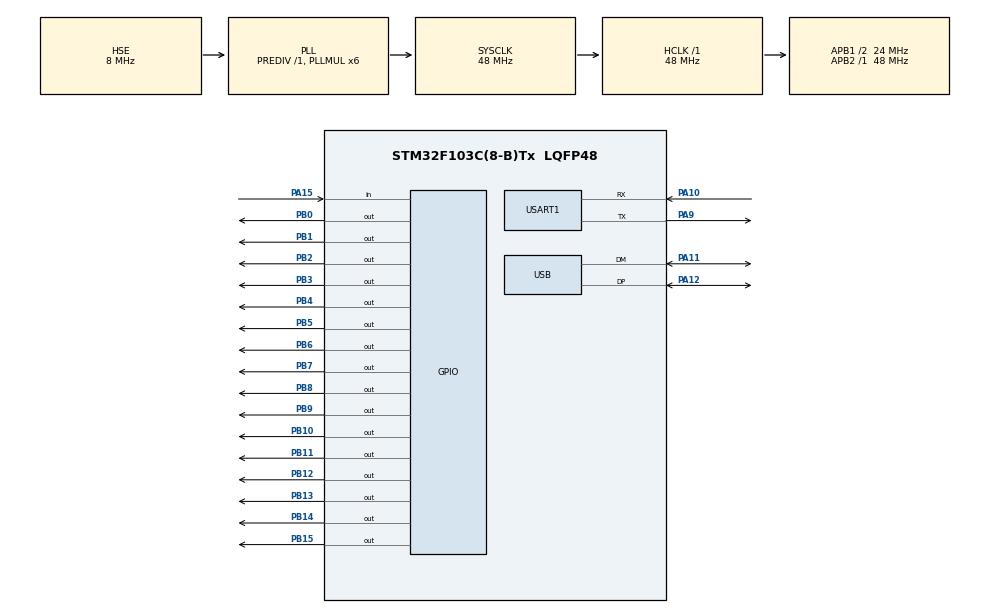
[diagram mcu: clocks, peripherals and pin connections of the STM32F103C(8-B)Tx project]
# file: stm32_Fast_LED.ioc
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Dma.Request0=TIM2_UP
Dma.Request1=TIM2_CH1
Dma.Request2=TIM2_CH2/CH4
Dma.TIM2_CH1.1.Direction=DMA_MEMORY_TO_PERIPH
Dma.TIM2_CH1.1.Instance=DMA1_Channel5
Dma.TIM2_CH1.1.MemDataAlignment=DMA_MDATAALIGN_HALFWORD
Dma.TIM2_CH1.1.MemInc=DMA_MINC_DISABLE
Dma.TIM2_CH1.1.Mode=DMA_CIRCULAR
Dma.TIM2_CH1.1.PeriphDataAlignment=DMA_PDATAALIGN_HALFWORD
Dma.TIM2_CH1.1.PeriphInc=DMA_PINC_DISABLE
Dma.TIM2_CH1.1.Priority=DMA_PRIORITY_VERY_HIGH
Dma.TIM2_CH2/CH4.2.Direction=DMA_MEMORY_TO_PERIPH
Dma.TIM2_CH2/CH4.2.Instance=DMA1_Channel7
Dma.TIM2_CH2/CH4.2.MemDataAlignment=DMA_MDATAALIGN_HALFWORD
Dma.TIM2_CH2/CH4.2.MemInc=DMA_MINC_DISABLE
Dma.TIM2_CH2/CH4.2.Mode=DMA_CIRCULAR
Dma.TIM2_CH2/CH4.2.PeriphDataAlignment=DMA_PDATAALIGN_HALFWORD
Dma.TIM2_CH2/CH4.2.PeriphInc=DMA_PINC_DISABLE
Dma.TIM2_CH2/CH4.2.Priority=DMA_PRIORITY_VERY_HIGH
Dma.TIM2_UP.0.Direction=DMA_MEMORY_TO_PERIPH
Dma.TIM2_UP.0.Instance=DMA1_Channel2
Dma.TIM2_UP.0.MemDataAlignment=DMA_MDATAALIGN_HALFWORD
Dma.TIM2_UP.0.MemInc=DMA_MINC_DISABLE
Dma.TIM2_UP.0.Mode=DMA_CIRCULAR
Dma.TIM2_UP.0.PeriphDataAlignment=DMA_PDATAALIGN_HALFWORD
Dma.TIM2_UP.0.PeriphInc=DMA_PINC_DISABLE
Dma.TIM2_UP.0.Priority=DMA_PRIORITY_VERY_HIGH
Mcu.Family=STM32F1
Mcu.Name=STM32F103C(8-B)Tx
Mcu.Package=LQFP48
NVIC.DMA1_Channel2_IRQn=true\:0\:0\:false\:false\:true\:false\:true
NVIC.DMA1_Channel5_IRQn=true\:0\:0\:false\:false\:true\:false\:true
NVIC.DMA1_Channel7_IRQn=true\:0\:0\:false\:false\:true\:false\:true
NVIC.PriorityGroup=NVIC_PRIORITYGROUP_4
NVIC.USB_LP_CAN1_RX0_IRQn=true\:0\:0\:false\:false\:true\:false\:true
PA10.Mode=Asynchronous
PA10.Signal=USART1_RX
PA11.Mode=Device
PA11.Signal=USB_DM
PA12.Mode=Device
PA12.Signal=USB_DP
PA15.GPIO_PuPd=GPIO_PULLUP
PA15.Signal=GPIO_Input
PA9.Mode=Asynchronous
PA9.Signal=USART1_TX
PB0.GPIO_Speed=GPIO_SPEED_FREQ_HIGH
PB0.Signal=GPIO_Output
PB1.GPIO_Speed=GPIO_SPEED_FREQ_HIGH
PB1.Signal=GPIO_Output
PB10.GPIO_Speed=GPIO_SPEED_FREQ_HIGH
PB10.Signal=GPIO_Output
PB11.GPIO_Speed=GPIO_SPEED_FREQ_HIGH
PB11.Signal=GPIO_Output
PB12.GPIO_Speed=GPIO_SPEED_FREQ_HIGH
PB12.Signal=GPIO_Output
PB13.GPIO_Speed=GPIO_SPEED_FREQ_HIGH
PB13.Signal=GPIO_Output
PB14.GPIO_Speed=GPIO_SPEED_FREQ_HIGH
PB14.Signal=GPIO_Output
PB15.GPIO_Speed=GPIO_SPEED_FREQ_HIGH
PB15.Signal=GPIO_Output
PB2.GPIO_Speed=GPIO_SPEED_FREQ_HIGH
PB2.Signal=GPIO_Output
PB3.GPIO_Speed=GPIO_SPEED_FREQ_HIGH
PB3.Signal=GPIO_Output
PB4.GPIO_Speed=GPIO_SPEED_FREQ_HIGH
PB4.Signal=GPIO_Output
PB5.GPIO_Speed=GPIO_SPEED_FREQ_HIGH
PB5.Signal=GPIO_Output
PB6.GPIO_Speed=GPIO_SPEED_FREQ_HIGH
PB6.Signal=GPIO_Output
PB7.GPIO_Speed=GPIO_SPEED_FREQ_HIGH
PB7.Signal=GPIO_Output
PB8.GPIO_PuPd=GPIO_NOPULL
PB8.GPIO_Speed=GPIO_SPEED_FREQ_HIGH
PB8.PinState=GPIO_PIN_SET
PB8.Signal=GPIO_Output
PB9.GPIO_Speed=GPIO_SPEED_FREQ_HIGH
PB9.Signal=GPIO_Output
PD0-OSC_IN.Mode=HSE-External-Oscillator
PD0-OSC_IN.Signal=RCC_OSC_IN
PD1-OSC_OUT.Mode=HSE-External-Oscillator
PD1-OSC_OUT.Signal=RCC_OSC_OUT
ProjectManager.HeapSize=0x400
ProjectManager.StackSize=0x800
ProjectManager.TargetToolchain=STM32CubeIDE
RCC.AHBFreq_Value=48000000
RCC.APB1CLKDivider=RCC_HCLK_DIV2
RCC.APB1Freq_Value=24000000
RCC.APB1TimFreq_Value=48000000
RCC.APB2Freq_Value=48000000
RCC.APB2TimFreq_Value=48000000
RCC.HCLKFreq_Value=48000000
RCC.PLLMUL=RCC_PLL_MUL6
RCC.PLLSourceVirtual=RCC_PLLSOURCE_HSE
RCC.RTCClockSelection=RCC_RTCCLKSOURCE_LSE
RCC.SYSCLKFreq_VALUE=48000000
RCC.SYSCLKSource=RCC_SYSCLKSOURCE_PLLCLK
RCC.USBFreq_Value=48000000
TIM2.Channel-PWM\ Generation1\ No\ Output=TIM_CHANNEL_1
TIM2.Channel-PWM\ Generation2\ No\ Output=TIM_CHANNEL_2
USART1.VirtualMode=VM_ASYNC
USB_DEVICE.CLASS_NAME_FS=CDC
USB_DEVICE.VirtualMode=Cdc
USB_DEVICE.VirtualModeFS=Cdc_FS
VP_SYS_VS_ND.Mode=No_Debug
VP_TIM2_VS_ClockSourceINT.Mode=Internal
VP_TIM2_VS_no_output1.Mode=PWM Generation1 No Output
VP_TIM2_VS_no_output2.Mode=PWM Generation2 No Output
VP_USB_DEVICE_VS_USB_DEVICE_CDC_FS.Mode=CDC_FS
board=custom

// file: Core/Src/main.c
/* USER CODE BEGIN Header */
/**
  ******************************************************************************
  * @file           : main.c
  * @brief          : Main program body
  ******************************************************************************
  ** This notice applies to any and all portions of this file
  * that are not between comment pairs USER CODE BEGIN and
  * USER CODE END. Other portions of this file, whether
  * inserted by the user or by software development tools
  * are owned by their respective copyright owners.
  *
  * COPYRIGHT(c) 2020 STMicroelectronics
  *
  * Redistribution and use in source and binary forms, with or without modification,
  * are permitted provided that the following conditions are met:
  *   1. Redistributions of source code must retain the above copyright notice,
  *      this list of conditions and the following disclaimer.
  *   2. Redistributions in binary form must reproduce the above copyright notice,
  *      this list of conditions and the following disclaimer in the documentation
  *      and/or other materials provided with the distribution.
  *   3. Neither the name of STMicroelectronics nor the names of its contributors
  *      may be used to endorse or promote products derived from this software
  *      without specific prior written permission.
  *
  * THIS SOFTWARE IS PROVIDED BY THE COPYRIGHT HOLDERS AND CONTRIBUTORS "AS IS"
  * AND ANY EXPRESS OR IMPLIED WARRANTIES, INCLUDING, BUT NOT LIMITED TO, THE
  * IMPLIED WARRANTIES OF MERCHANTABILITY AND FITNESS FOR A PARTICULAR PURPOSE ARE
  * DISCLAIMED. IN NO EVENT SHALL THE COPYRIGHT HOLDER OR CONTRIBUTORS BE LIABLE
  * FOR ANY DIRECT, INDIRECT, INCIDENTAL, SPECIAL, EXEMPLARY, OR CONSEQUENTIAL
  * DAMAGES (INCLUDING, BUT NOT LIMITED TO, PROCUREMENT OF SUBSTITUTE GOODS OR
  * SERVICES; LOSS OF USE, DATA, OR PROFITS; OR BUSINESS INTERRUPTION) HOWEVER
  * CAUSED AND ON ANY THEORY OF LIABILITY, WHETHER IN CONTRACT, STRICT LIABILITY,
  * OR TORT (INCLUDING NEGLIGENCE OR OTHERWISE) ARISING IN ANY WAY OUT OF THE USE
  * OF THIS SOFTWARE, EVEN IF ADVISED OF THE POSSIBILITY OF SUCH DAMAGE.
  *
  ******************************************************************************
  */
/* USER CODE END Header */

#include "main.h"
#include "usb_device.h"

/* USER CODE BEGIN Includes */

#include <string.h>
#include "ws2812_led.h"

/* USER CODE END Includes */

/* USER CODE BEGIN PD */

//Define variables for CDC
uint8_t buffer[64] = {0};
uint32_t dataInBuffer = 0;

struct pixel {
    uint8_t g;
    uint8_t r;
    uint8_t b;
};

struct pixel channel_framebuffers[1][900];

int serialLed(void)
{
	uint8_t txBuf[2] = {'A', '\n'};
	CDC_Transmit_FS(txBuf, sizeof(txBuf));

    struct led_channel_info led_channels[1];

    __enable_irq();
    HAL_Delay(200);

    /* Populate the led_channel_info structure. Set the framebuffer pointer for each channel,
     * and the length of the framebuffer for that channel. Lengths are in bytes, NOT in pixels.
     * We allow some framebuffers to be shorter than others (ie, if your LED strips are of
     * unequal lengths) without wasting memory. Removing the length check from ws2812_refresh()
     * will improve performance, but we are within spec as-is.
     */
    for (int i = 0; i < 1; i++) {
        led_channels[i].framebuffer = channel_framebuffers[i];
        led_channels[i].length = 300 * sizeof(struct pixel);
    }

    ws2812_init();

    while(1) {
    	while(1)
    	{
    		if(dataInBuffer > 0)
    		{
    		uint8_t txBuf[2] = {'B', '\n'};
    		CDC_Transmit_FS(txBuf, sizeof(txBuf));
    		CDC_Transmit_FS(buffer, dataInBuffer);

				if(1) //buffer[0] == 0xff) //Check Start Byte ok
				{
					uint32_t len = buffer[1] + (buffer[2] << 8); //Lenght of packet
					uint8_t channel = buffer[4]; // Channel
					int j = 0;

					for(int i = 4; i < (len + 4); i++)
					{
						channel_framebuffers[channel][i].r = buffer[j++];
						channel_framebuffers[channel][i].g = buffer[j++];
						channel_framebuffers[channel][i].b = buffer[j++];
					}
					__disable_irq();
					ws2812_refresh(led_channels, GPIOB);
					__enable_irq();
					dataInBuffer = 0;
					break;
				}

    		}
    		uint8_t txBuf[2] = {'C', '\n'};
    		CDC_Transmit_FS(txBuf, sizeof(txBuf));

    	}
    }
}

/* USER CODE END PD */

TIM_HandleTypeDef htim2;
DMA_HandleTypeDef hdma_tim2_up;
DMA_HandleTypeDef hdma_tim2_ch1;
DMA_HandleTypeDef hdma_tim2_ch2_ch4;

UART_HandleTypeDef huart1;

void SystemClock_Config(void);
static void MX_GPIO_Init(void);
static void MX_USART1_UART_Init(void);
static void MX_DMA_Init(void);
static void MX_TIM2_Init(void);

/* USER CODE BEGIN 0 */
//int demo_main();
/* USER CODE END 0 */

int main(void)
{

  /* MCU Configuration--------------------------------------------------------*/

  /* Reset of all peripherals, Initializes the Flash interface and the Systick. */
  HAL_Init();

  /* Configure the system clock */
  SystemClock_Config();

  /* Initialize all configured peripherals */
  MX_GPIO_Init();
  MX_USART1_UART_Init();
  MX_DMA_Init();
  MX_TIM2_Init();
  MX_USB_DEVICE_Init();
  /* USER CODE BEGIN 2 */

  //serialLed(); //Run the serial led program
  /* USER CODE END 2 */

  /* Infinite loop */
  while (1)
  {

    /* USER CODE BEGIN 3 */
	  uint8_t buf[5] = {"hi\n"};
	  CDC_Transmit_FS(buf, 5);

	  if(dataInBuffer > 0)
	  {
		  CDC_Transmit_FS(buffer, dataInBuffer);
		  dataInBuffer = 0;
	  }

  }
  /* USER CODE END 3 */
}

void SystemClock_Config(void)
{
  RCC_OscInitTypeDef RCC_OscInitStruct = {0};
  RCC_ClkInitTypeDef RCC_ClkInitStruct = {0};
  RCC_PeriphCLKInitTypeDef PeriphClkInit = {0};

  /** Initializes the CPU, AHB and APB busses clocks
  */
  RCC_OscInitStruct.OscillatorType = RCC_OSCILLATORTYPE_HSE;
  RCC_OscInitStruct.HSEState = RCC_HSE_ON;
  RCC_OscInitStruct.HSEPredivValue = RCC_HSE_PREDIV_DIV1;
  RCC_OscInitStruct.HSIState = RCC_HSI_ON;
  RCC_OscInitStruct.PLL.PLLState = RCC_PLL_ON;
  RCC_OscInitStruct.PLL.PLLSource = RCC_PLLSOURCE_HSE;
  RCC_OscInitStruct.PLL.PLLMUL = RCC_PLL_MUL6;
  if (HAL_RCC_OscConfig(&RCC_OscInitStruct) != HAL_OK)
  {
    Error_Handler();
  }
  /** Initializes the CPU, AHB and APB busses clocks
  */
  RCC_ClkInitStruct.ClockType = RCC_CLOCKTYPE_HCLK|RCC_CLOCKTYPE_SYSCLK
                              |RCC_CLOCKTYPE_PCLK1|RCC_CLOCKTYPE_PCLK2;
  RCC_ClkInitStruct.SYSCLKSource = RCC_SYSCLKSOURCE_PLLCLK;
  RCC_ClkInitStruct.AHBCLKDivider = RCC_SYSCLK_DIV1;
  RCC_ClkInitStruct.APB1CLKDivider = RCC_HCLK_DIV2;
  RCC_ClkInitStruct.APB2CLKDivider = RCC_HCLK_DIV1;

  if (HAL_RCC_ClockConfig(&RCC_ClkInitStruct, FLASH_LATENCY_1) != HAL_OK)
  {
    Error_Handler();
  }
  PeriphClkInit.PeriphClockSelection = RCC_PERIPHCLK_USB;
  PeriphClkInit.UsbClockSelection = RCC_USBCLKSOURCE_PLL;
  if (HAL_RCCEx_PeriphCLKConfig(&PeriphClkInit) != HAL_OK)
  {
    Error_Handler();
  }
}

static void MX_TIM2_Init(void)
{

  TIM_ClockConfigTypeDef sClockSourceConfig = {0};
  TIM_MasterConfigTypeDef sMasterConfig = {0};
  TIM_OC_InitTypeDef sConfigOC = {0};

  htim2.Instance = TIM2;
  htim2.Init.Prescaler = 0;
  htim2.Init.CounterMode = TIM_COUNTERMODE_UP;
  htim2.Init.Period = 0;
  htim2.Init.ClockDivision = TIM_CLOCKDIVISION_DIV1;
  htim2.Init.AutoReloadPreload = TIM_AUTORELOAD_PRELOAD_DISABLE;
  if (HAL_TIM_Base_Init(&htim2) != HAL_OK)
  {
    Error_Handler();
  }
  sClockSourceConfig.ClockSource = TIM_CLOCKSOURCE_INTERNAL;
  if (HAL_TIM_ConfigClockSource(&htim2, &sClockSourceConfig) != HAL_OK)
  {
    Error_Handler();
  }
  if (HAL_TIM_PWM_Init(&htim2) != HAL_OK)
  {
    Error_Handler();
  }
  sMasterConfig.MasterOutputTrigger = TIM_TRGO_RESET;
  sMasterConfig.MasterSlaveMode = TIM_MASTERSLAVEMODE_DISABLE;
  if (HAL_TIMEx_MasterConfigSynchronization(&htim2, &sMasterConfig) != HAL_OK)
  {
    Error_Handler();
  }
  sConfigOC.OCMode = TIM_OCMODE_PWM1;
  sConfigOC.Pulse = 0;
  sConfigOC.OCPolarity = TIM_OCPOLARITY_HIGH;
  sConfigOC.OCFastMode = TIM_OCFAST_DISABLE;
  if (HAL_TIM_PWM_ConfigChannel(&htim2, &sConfigOC, TIM_CHANNEL_1) != HAL_OK)
  {
    Error_Handler();
  }
  if (HAL_TIM_PWM_ConfigChannel(&htim2, &sConfigOC, TIM_CHANNEL_2) != HAL_OK)
  {
    Error_Handler();
  }

}

static void MX_USART1_UART_Init(void)
{

  huart1.Instance = USART1;
  huart1.Init.BaudRate = 115200;
  huart1.Init.WordLength = UART_WORDLENGTH_8B;
  huart1.Init.StopBits = UART_STOPBITS_1;
  huart1.Init.Parity = UART_PARITY_NONE;
  huart1.Init.Mode = UART_MODE_TX_RX;
  huart1.Init.HwFlowCtl = UART_HWCONTROL_NONE;
  huart1.Init.OverSampling = UART_OVERSAMPLING_16;
  if (HAL_UART_Init(&huart1) != HAL_OK)
  {
    Error_Handler();
  }

}

static void MX_DMA_Init(void)
{

  /* DMA controller clock enable */
  __HAL_RCC_DMA1_CLK_ENABLE();

  /* DMA interrupt init */
  /* DMA1_Channel2_IRQn interrupt configuration */
  HAL_NVIC_SetPriority(DMA1_Channel2_IRQn, 0, 0);
  HAL_NVIC_EnableIRQ(DMA1_Channel2_IRQn);
  /* DMA1_Channel5_IRQn interrupt configuration */
  HAL_NVIC_SetPriority(DMA1_Channel5_IRQn, 0, 0);
  HAL_NVIC_EnableIRQ(DMA1_Channel5_IRQn);
  /* DMA1_Channel7_IRQn interrupt configuration */
  HAL_NVIC_SetPriority(DMA1_Channel7_IRQn, 0, 0);
  HAL_NVIC_EnableIRQ(DMA1_Channel7_IRQn);

}

static void MX_GPIO_Init(void)
{
  GPIO_InitTypeDef GPIO_InitStruct = {0};

  /* GPIO Ports Clock Enable */
  __HAL_RCC_GPIOD_CLK_ENABLE();
  __HAL_RCC_GPIOB_CLK_ENABLE();
  __HAL_RCC_GPIOA_CLK_ENABLE();

  /*Configure GPIO pin Output Level */
  HAL_GPIO_WritePin(GPIOB, GPIO_PIN_0|GPIO_PIN_1|GPIO_PIN_2|GPIO_PIN_10
                          |GPIO_PIN_11|GPIO_PIN_12|GPIO_PIN_13|GPIO_PIN_14
                          |GPIO_PIN_15|GPIO_PIN_3|GPIO_PIN_4|GPIO_PIN_5
                          |GPIO_PIN_6|GPIO_PIN_7|GPIO_PIN_9, GPIO_PIN_RESET);

  /*Configure GPIO pin Output Level */
  HAL_GPIO_WritePin(GPIOB, GPIO_PIN_8, GPIO_PIN_SET);

  /*Configure GPIO pins : PB0 PB1 PB2 PB10
                           PB11 PB12 PB13 PB14
                           PB15 PB3 PB4 PB5
                           PB6 PB7 PB8 PB9 */
  GPIO_InitStruct.Pin = GPIO_PIN_0|GPIO_PIN_1|GPIO_PIN_2|GPIO_PIN_10
                          |GPIO_PIN_11|GPIO_PIN_12|GPIO_PIN_13|GPIO_PIN_14
                          |GPIO_PIN_15|GPIO_PIN_3|GPIO_PIN_4|GPIO_PIN_5
                          |GPIO_PIN_6|GPIO_PIN_7|GPIO_PIN_8|GPIO_PIN_9;
  GPIO_InitStruct.Mode = GPIO_MODE_OUTPUT_PP;
  GPIO_InitStruct.Pull = GPIO_NOPULL;
  GPIO_InitStruct.Speed = GPIO_SPEED_FREQ_HIGH;
  HAL_GPIO_Init(GPIOB, &GPIO_InitStruct);

  /*Configure GPIO pin : PA15 */
  GPIO_InitStruct.Pin = GPIO_PIN_15;
  GPIO_InitStruct.Mode = GPIO_MODE_INPUT;
  GPIO_InitStruct.Pull = GPIO_PULLUP;
  HAL_GPIO_Init(GPIOA, &GPIO_InitStruct);

}

void Error_Handler(void)
{
}

/************************ (C) COPYRIGHT STMicroelectronics *****END OF FILE****/
